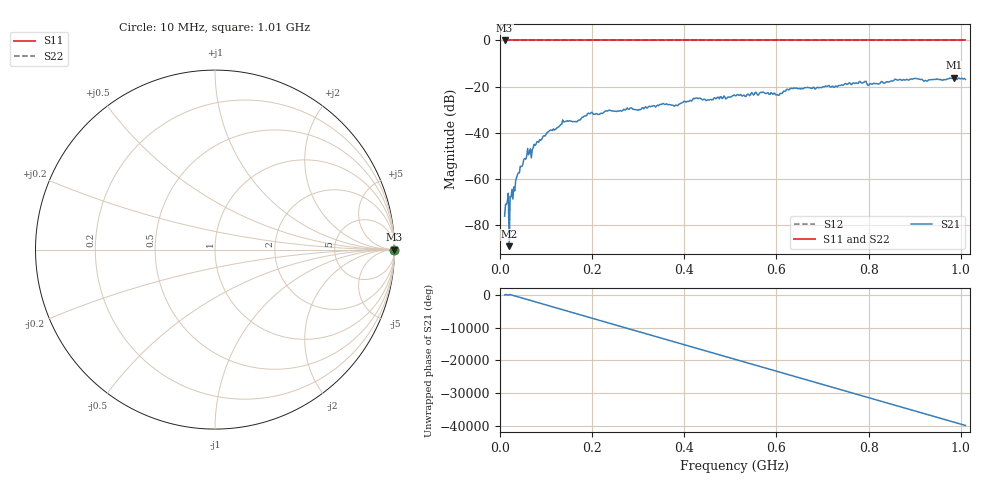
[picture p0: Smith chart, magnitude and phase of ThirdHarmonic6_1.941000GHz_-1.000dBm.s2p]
! 8/16/2025 11:23:07 PM
! C:\ANRITSUVNA\TEMP\TEMP.S2P
! CHANNEL.1
! TR.MEASUREMENT
! RAW.DATA
! RF.CORRECTION.OFF
! AVERAGING.OFF
! IF.BANDWIDTH: 5KHZ
! SWEEPTYPE:  FREQ.SWEEP(Linear)
! Reference Plane Port Info
! PORT:  PORT1  PORT2
! DISTANCE:  0  m  0  m
! TIME:  0  s  0  s
! PHASE.OFFSET:  0  deg.  0  deg.
! LOSS:  0  dB  0  dB
! REF.LOSS:  0  dB  0  dB
! REF.FREQ:  0  Hz  0  Hz
! Power Info
! POWER:  -20  dBm  -20  dBm
! EFF.POWER:  -20  dBm  -20  dBm
! SOURCE.ATTEN:  0  dB  0  dB
! TEST.ATTEN:  0  dB  0  dB
# GHZ S RI R 50.0
! FREQ.GHZ  S11RE  S11IM  S21RE  S21IM  S12RE  S12IM  S22RE  S22IM
!; PortSelection: Port_12
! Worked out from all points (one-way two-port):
!   501 points, 10 MHz to 1.01 GHz, reference 50 ohm
!   highest |S21| = -16.19 dB at 986 MHz (marker M1); lowest = -89.2 dB at 20 MHz (marker M2)
!   lowest |S11| = 0.0 dB at 10 MHz (marker M3)
!   |S11| at or under -10 dB: nowhere
!   |S22| runs from 0.0 to 0.0 dB; largest |S21 - S12| = 1.2
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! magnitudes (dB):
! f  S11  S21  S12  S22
! 10 MHz  0.0  -76.2  0.0  0.0
! 14 MHz  0.0  -71.1  0.0  0.0
! 20 MHz  0.0  -89.2  0.0  0.0
! 24 MHz  0.0  -67.9  0.0  0.0
! 26 MHz  0.0  -64.6  0.0  0.0
! 48 MHz  0.0  -54.5  0.0  0.0
! 78 MHz  0.0  -45.0  0.0  0.0
! 140 MHz  0.0  -35.3  0.0  0.0
! 178 MHz  0.0  -33.4  0.0  0.0
! 196 MHz  0.0  -31.7  0.0  0.0
! 344 MHz  0.0  -28.3  0.0  0.0
! 382 MHz  0.0  -28.0  0.0  0.0
! 424 MHz  0.0  -25.1  0.0  0.0
! 452 MHz  0.0  -25.7  0.0  0.0
! 510 MHz  0.0  -23.9  0.0  0.0
! 568 MHz  0.0  -22.6  0.0  0.0
! 602 MHz  0.0  -23.4  0.0  0.0
! 634 MHz  0.0  -20.8  0.0  0.0
! 678 MHz  0.0  -20.7  0.0  0.0
! 844 MHz  0.0  -18.0  0.0  0.0
! 986 MHz  0.0  -16.2  0.0  0.0
! 1.01 GHz  0.0  -16.9  0.0  0.0
